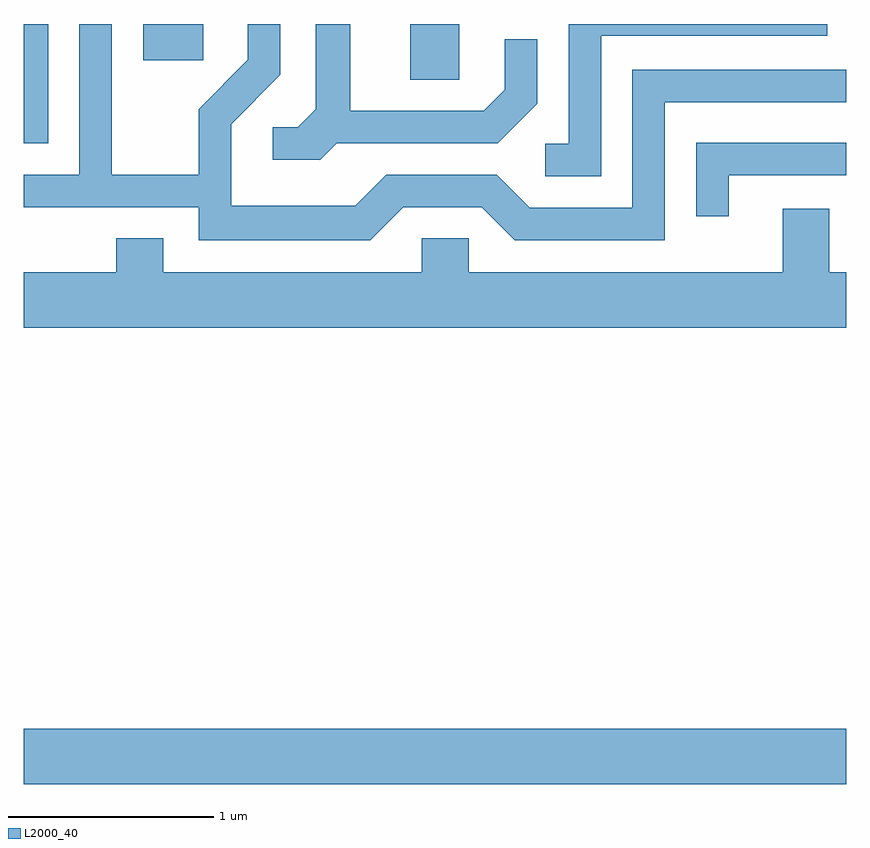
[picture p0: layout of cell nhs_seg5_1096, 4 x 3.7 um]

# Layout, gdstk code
import gdstk
lib = gdstk.Library(unit=1e-6, precision=1e-09)
def R(c, l, rs):  # rectangles x0, y0, x1, y1
    for r in rs: c.add(gdstk.rectangle(r[:2], r[2:], *l))
def P(c, l, *ps):  # polygons
    for p in ps: c.add(gdstk.Polygon(p, *l))
L2000_40 = (2000, 40)

nhs_seg5_1096 = lib.new_cell('nhs_seg5_1096')
R(nhs_seg5_1096, L2000_40, [(217.611,1432.376,221.611,1432.644), (217.611,1435.491,217.729,1436.072), (219.491,1435.801,219.729,1436.072), (218.191,1435.896,218.484,1436.072)])
P(nhs_seg5_1096, L2000_40, [(220.419,1436.016),(221.518,1436.016),(221.518,1436.072),(220.261,1436.072),(220.261,1435.489),(220.148,1435.489),(220.148,1435.331),(220.419,1435.331)],
  [(219.132,1435.491),(219.917,1435.491),(220.109,1435.684),(220.109,1435.998),(219.951,1435.998),(219.951,1435.752),(219.849,1435.649),(219.199,1435.649),(219.199,1436.072),(219.031,1436.072),(219.031,1435.657),(218.944,1435.569),(218.823,1435.569),(218.823,1435.411),(219.052,1435.411)],
  [(219.457,1435.181),(219.839,1435.181),(219.999,1435.021),(220.729,1435.021),(220.729,1435.691),(221.611,1435.691),(221.611,1435.849),(220.571,1435.849),(220.571,1435.179),(220.072,1435.179),(219.912,1435.339),(219.374,1435.339),(219.224,1435.189),(218.619,1435.189),(218.619,1435.584),(218.859,1435.824),(218.859,1436.072),(218.701,1436.072),(218.701,1435.897),(218.461,1435.657),(218.461,1435.339),(218.039,1435.339),(218.039,1436.072),(217.881,1436.072),(217.881,1435.339),(217.611,1435.339),(217.611,1435.181),(218.461,1435.181),(218.461,1435.021),(219.297,1435.021)],
  [(221.039,1435.336),(221.611,1435.336),(221.611,1435.494),(220.881,1435.494),(220.881,1435.138),(221.039,1435.138)],
  [(221.611,1434.864),(221.529,1434.864),(221.529,1435.174),(221.301,1435.174),(221.301,1434.864),(219.774,1434.864),(219.774,1435.029),(219.546,1435.029),(219.546,1434.864),(218.289,1434.864),(218.289,1435.029),(218.061,1435.029),(218.061,1434.864),(217.611,1434.864),(217.611,1434.596),(221.611,1434.596)])

lib.write_gds('nhs_seg5_1096.gds')
